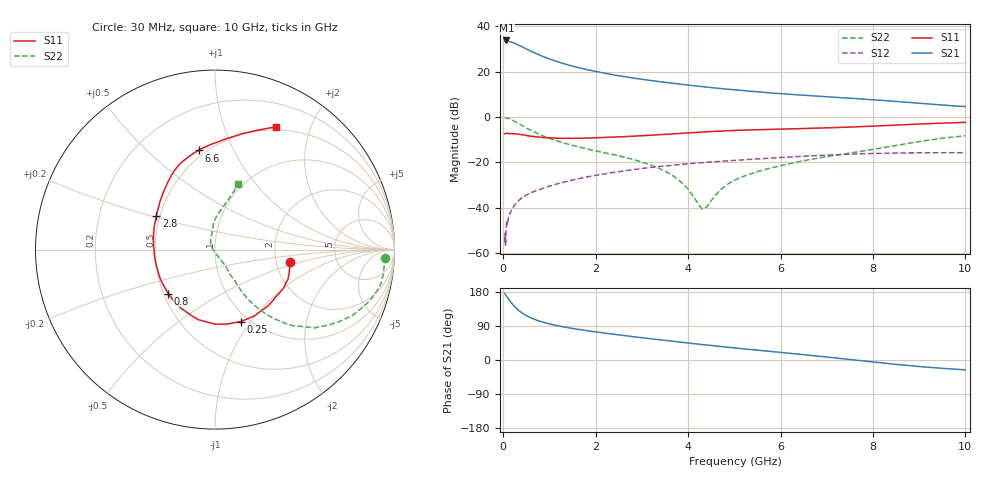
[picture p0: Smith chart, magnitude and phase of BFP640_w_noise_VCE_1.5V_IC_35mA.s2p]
! (c) 2013  Infineon Technologies AG, Munich
! Infineon Technologies  Discrete & RF Semiconductors
! BFP640
! VCE =  1.5 V,  IC =  35 mA
! Common Emitter S-Parameters:  Apr 2013
# GHz  S  MA  R  50
!  f  S11  S21  S12  S22
! GHz  MAG  ANG  MAG  ANG  MAG  ANG  MAG  ANG
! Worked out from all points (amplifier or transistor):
!   99 points, 30 MHz to 10 GHz, reference 50 ohm
!   highest |S21| = 33.8 dB at 70 MHz (marker M1)
!   |S21| within 3 dB of that: start of sweep to 426.9 MHz
!   unconditionally stable (mu >= 1): 1.798 GHz to end of sweep
!   at 350 MHz: K = 0.42, MSG = 34.1 dB, |S12| = -36.7 dB
!   at 3.5 GHz: K = 1.07, MAG = 16.9 dB, |S12| = -21.6 dB
!   at 10 GHz: K = 1.08, MAG = 8.5 dB, |S12| = -15.8 dB
!   lowest NFmin = 1.16 dB at 450 MHz
!   S11 on the Smith chart (normalised r, x): 30 MHz: 2.39, -0.41; 250 MHz: 0.92, -0.90; 800 MHz: 0.53, -0.30; 2.8 GHz: 0.48, +0.21; 6.6 GHz: 0.46, +0.74; 10 GHz: 0.46, +1.51
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0.03  0.4249 -9.5  47.35 175.5  0.0017 91.3  0.9473 -2.7
0.05  0.4305 -15.8  48.72 172.4  0.0014 68.5  0.9466 -5.8
0.07  0.4389 -22.3  49.14 168.5  0.005 76.1  0.9484 -8.8
0.15  0.4313 -46.0  46.33 155.2  0.0074 78.4  0.8973 -19.6
0.2  0.4299 -59.3  44.31 147.4  0.0098 75.1  0.8516 -25.4
0.25  0.426 -70.2  42.58 140.8  0.0113 68.8  0.7989 -30.2
0.3  0.4204 -80.5  40.2 134.7  0.0131 68.2  0.7491 -34.4
0.35  0.4156 -89.4  37.65 129.4  0.0147 67.8  0.7028 -38.4
0.4  0.4058 -96.7  35.95 124.9  0.0163 65.3  0.652 -41.1
0.5  0.3907 -109.4  31.93 117.2  0.0189 63.5  0.5737 -46.1
0.6  0.3773 -120.3  28.49 111.0  0.0211 61.1  0.5062 -49.4
0.8  0.3576 -136.8  23.07 101.9  0.0252 61.3  0.4088 -53.7
1.1  0.3425 -155.7  17.66 92.4  0.0319 60.1  0.3097 -56.8
1.7  0.3403 179.1  11.88 79.6  0.0448 57.7  0.21 -57.6
2.8  0.3755 150.4  7.317 61.7  0.0686 50.1  0.116 -57.4
3.4  0.4081 138.4  6.018 53.1  0.081 45.0  0.071 -60.8
4.3  0.4651 123.4  4.698 40.8  0.0979 37.1  0.0093 -134.8
5.1  0.5088 113.9  3.911 30.8  0.1118 30.1  0.0445 123.1
6.6  0.5599 99.4  2.985 12.7  0.1375 16.8  0.1128 97.1
6.7  0.5658 98.2  2.932 11.5  0.139 15.8  0.1178 96.3
8.5  0.6633 76.8  2.209 -11.5  0.16 -2.6  0.235 80.1
10  0.7619 63.7  1.698 -26.0  0.1631 -14.3  0.3852 70.8
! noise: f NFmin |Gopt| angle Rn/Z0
0.45  1.16  0.22  -170  0.04
0.9  1.17  0.23  -159  0.07
1.5  1.18  0.26  -144  0.08
1.9  1.18  0.27  224  0.1
2.4  1.23  0.29  -122  0.11
3.5  1.36  0.34  -105  0.15
5.5  1.57  0.38  -91  0.23
10  2.02  0.62  -50  0.64
